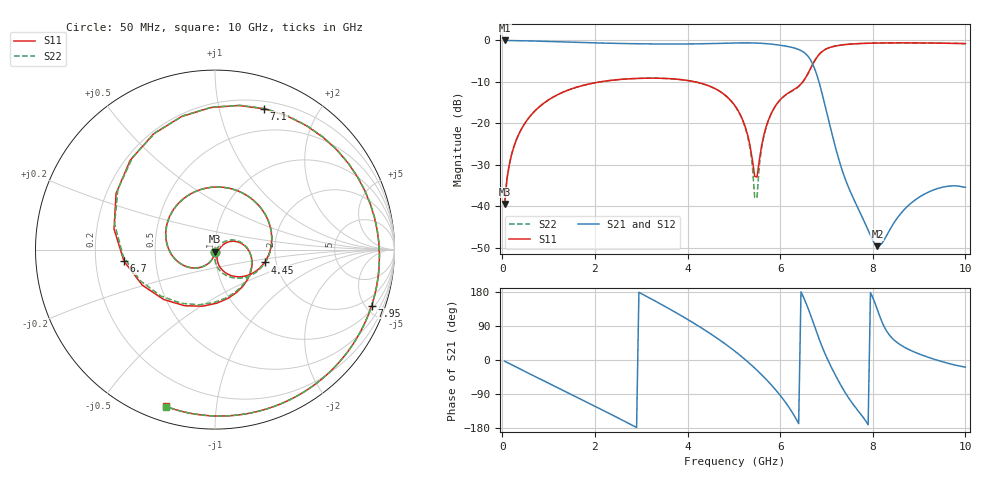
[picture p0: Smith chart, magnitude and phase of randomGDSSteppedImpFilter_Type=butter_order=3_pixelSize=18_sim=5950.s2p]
! freq	dB(S11)	phase(S11)	dB(S12)	phase(S12)
!  dB(S21)	phase(S21)	dB(S22)	phase(S22)
!S-par simulation data
#  GHz  S  DB  R 50
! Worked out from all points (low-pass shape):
!   200 points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, 50 MHz to 10 GHz, reference 50 ohm
!   highest |S21| = -0.01 dB at 50 MHz (marker M1); lowest = -49.6 dB at 8.1 GHz (marker M2)
!   |S21| within 3 dB of the highest: start of sweep to 6.527 GHz
!   lowest |S11| = -39.4 dB at 50 MHz (marker M3), VSWR 1.02, Z = 50 - j1.07 ohm
!   |S11| at or under -10 dB: start of sweep to 2.106 GHz; 4.171 GHz to 6.487 GHz (2.316 GHz wide, 43.5 % of centre)
!   |S22| runs from -39.4 to -0.6 dB; largest |S21 - S12| = 0
!   S11 on the Smith chart (normalised r, x): 50 MHz: 1.00, -0.02; 4.45 GHz: 1.74, -0.27; 6.7 GHz: 0.32, -0.06; 7.1 GHz: 0.27, +1.37; 7.95 GHz: 1.24, -5.49; 10 GHz: 0.07, -0.73
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0.05  -39.41 -92.0  -0.01 -3.1  -0.01 -3.1  -39.40 -91.9
0.2  -27.53 -102.2  -0.03 -12.4  -0.03 -12.4  -27.53 -102.2
0.5  -19.77 -121.2  -0.09 -30.8  -0.09 -30.8  -19.77 -121.3
1.75  -10.82 162.6  -0.51 -106.9  -0.51 -106.9  -10.82 162.2
2.65  -9.31 107.4  -0.76 -162.3  -0.76 -162.3  -9.32 106.7
3.4  -9.12 59.4  -0.86 149.0  -0.86 149.0  -9.12 58.2
4.45  -10.90 -14.5  -0.78 72.9  -0.78 72.9  -10.92 -17.0
5.05  -16.16 -62.2  -0.61 20.6  -0.61 20.6  -16.24 -67.3
5.3  -22.88 -77.9  -0.59 -4.7  -0.59 -4.7  -23.22 -88.9
5.5  -32.95 -0.8  -0.64 -27.0  -0.64 -27.0  -37.98 23.1
5.65  -22.75 31.5  -0.73 -45.0  -0.73 -45.0  -22.99 40.0
5.95  -14.98 2.8  -1.08 -85.7  -1.08 -85.7  -15.03 4.3
6.4  -11.04 -74.8  -2.18 -167.9  -2.18 -167.9  -11.13 -78.0
6.7  -5.83 -172.8  -5.61 104.1  -5.61 104.1  -5.79 -176.0
6.9  -2.74 118.2  -12.56 36.9  -12.56 36.9  -2.70 116.6
7.1  -1.60 70.7  -21.68 -17.8  -21.68 -17.8  -1.58 70.1
7.45  -0.95 21.4  -34.70 -94.9  -34.70 -94.9  -0.94 21.5
7.95  -0.66 -19.7  -47.05 178.0  -47.05 178.0  -0.66 -19.5
8.1  -0.62 -29.0  -49.60 132.6  -49.60 132.6  -0.62 -28.8
8.35  -0.59 -42.6  -46.00 67.3  -46.00 67.3  -0.59 -42.5
9.05  -0.60 -73.5  -37.46 13.6  -37.46 13.6  -0.60 -73.4
10  -0.76 -107.4  -35.39 -18.8  -35.39 -18.8  -0.76 -107.3
